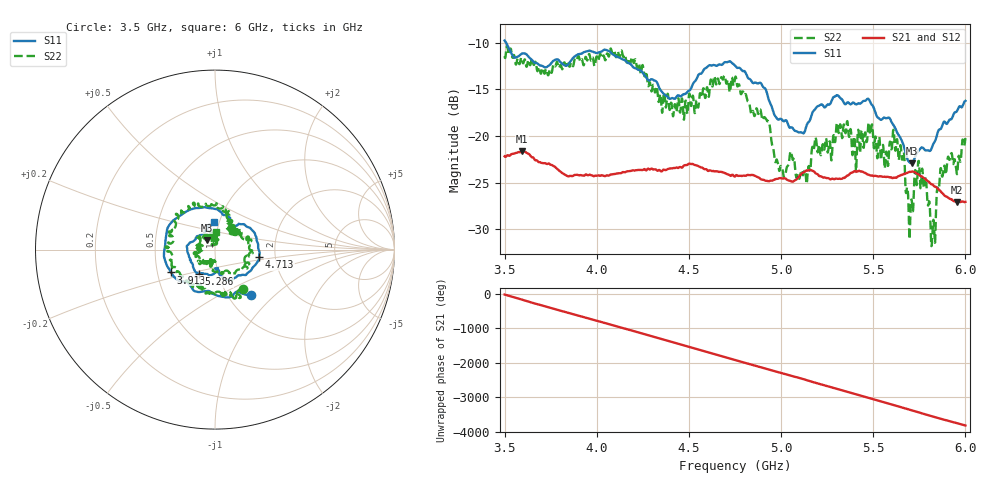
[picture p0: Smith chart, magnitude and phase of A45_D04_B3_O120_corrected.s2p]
! Created with skrf 1.9.0 (http://scikit-rf.org).
# Hz S RI R 50.0
!freq ReS11 ImS11 ReS21 ImS21 ReS12 ImS12 ReS22 ImS22
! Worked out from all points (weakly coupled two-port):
!   1601 points, 3.5 GHz to 6 GHz, reference 50 ohm
!   highest |S21| = -21.63 dB at 3.595 GHz (marker M1); lowest = -27.1 dB at 5.956 GHz (marker M2)
!   lowest |S11| = -22.9 dB at 5.709 GHz (marker M3), VSWR 1.15, Z = 45.2 + j4.9 ohm
!   |S11| at or under -10 dB: 3.508 GHz to end of sweep
!   |S22| runs from -31.8 to -10.4 dB; largest |S21 - S12| = 0.00095
!   S11 on the Smith chart (normalised r, x): 3.5 GHz: 1.27, -0.73; 3.913 GHz: 0.59, -0.16; 4.713 GHz: 1.65, -0.14; 5.286 GHz: 0.81, -0.22; 6 GHz: 0.94, +0.30
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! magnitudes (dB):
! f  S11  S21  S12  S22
! 3.5 GHz  -9.8  -22.2  -22.1  -11.4
! 3.595 GHz  -11.1  -21.6  -21.6  -11.9
! 3.913 GHz  -11.2  -24.2  -24.1  -12.0
! 3.917 GHz  -11.2  -24.2  -24.2  -11.8
! 4.142 GHz  -11.8  -23.9  -23.8  -11.5
! 4.334 GHz  -14.6  -23.7  -23.6  -16.3
! 4.481 GHz  -15.5  -23.1  -23.1  -16.2
! 4.713 GHz  -12.0  -24.1  -24.1  -14.0
! 4.75 GHz  -12.4  -24.3  -24.2  -13.8
! 4.927 GHz  -15.6  -24.8  -24.8  -18.4
! 5.014 GHz  -18.4  -24.5  -24.5  -24.4
! 5.167 GHz  -17.6  -23.7  -23.6  -21.4
! 5.286 GHz  -15.8  -24.6  -24.6  -19.9
! 5.484 GHz  -16.4  -24.2  -24.1  -19.8
! 5.584 GHz  -18.0  -24.4  -24.3  -22.2
! 5.656 GHz  -20.5  -24.1  -24.1  -22.5
! 5.709 GHz  -22.9  -23.8  -23.7  -27.0
! 5.755 GHz  -21.4  -24.3  -24.2  -25.1
! 5.825 GHz  -20.9  -25.3  -25.2  -29.2
! 5.873 GHz  -18.9  -26.1  -26.0  -24.3
! 5.956 GHz  -17.2  -27.1  -27.0  -23.9
! 6 GHz  -16.2  -27.1  -27.0  -20.2
